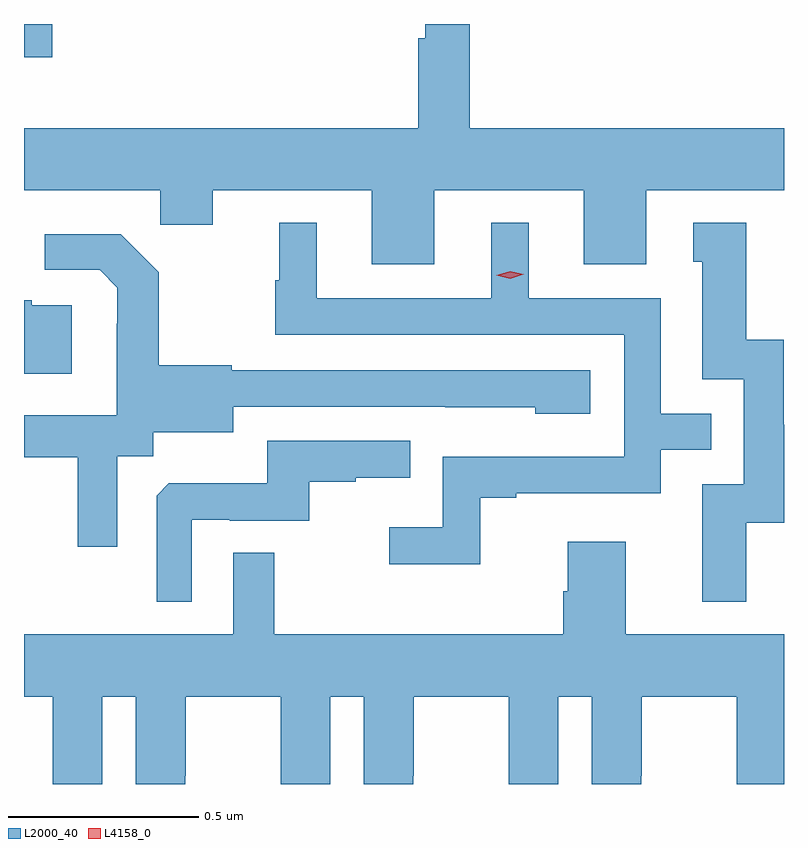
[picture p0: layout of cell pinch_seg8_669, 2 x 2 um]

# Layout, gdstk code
import gdstk
lib = gdstk.Library(unit=1e-6, precision=1e-09)
def R(c, l, rs):  # rectangles x0, y0, x1, y1
    for r in rs: c.add(gdstk.rectangle(r[:2], r[2:], *l))
def P(c, l, *ps):  # polygons
    for p in ps: c.add(gdstk.Polygon(p, *l))
L2000_40 = (2000, 40)
L4158_0 = (4158, 0)

pinch_seg8_669 = lib.new_cell('pinch_seg8_669')
R(pinch_seg8_669, L2000_40, [(316.142,1108.859,316.216,1108.946)])
P(pinch_seg8_669, L2000_40, [(317.221,1108.508),(317.615,1108.508),(317.615,1108.314),(317.779,1108.314),(317.779,1108.508),(318.142,1108.508),(318.142,1108.672),(317.315,1108.672),(317.315,1108.946),(317.198,1108.946),(317.198,1108.908),(317.179,1108.908),(317.179,1108.672),(316.142,1108.672),(316.142,1108.508),(316.501,1108.508),(316.501,1108.418),(316.639,1108.418),(316.639,1108.508),(317.057,1108.508),(317.057,1108.314),(317.221,1108.314)],
  [(317.343,1107.699),(317.437,1107.699),(317.437,1107.711),(317.817,1107.711),(317.817,1107.825),(317.951,1107.825),(317.951,1107.921),(317.817,1107.921),(317.817,1108.224),(317.47,1108.224),(317.47,1108.423),(317.372,1108.423),(317.372,1108.224),(316.912,1108.224),(316.912,1108.423),(316.814,1108.423),(316.814,1108.272),(316.803,1108.272),(316.803,1108.128),(317.721,1108.128),(317.721,1107.807),(317.244,1107.807),(317.244,1107.622),(317.103,1107.622),(317.103,1107.524),(317.343,1107.524)],
  [(318.043,1107.634),(318.142,1107.634),(318.142,1107.892),(318.141,1107.892),(318.141,1108.115),(318.043,1108.115),(318.043,1108.423),(317.903,1108.423),(317.903,1108.32),(317.927,1108.32),(317.927,1108.011),(318.036,1108.011),(318.036,1107.735),(317.927,1107.735),(317.927,1107.426),(318.043,1107.426)],
  [(316.387,1107.808),(316.482,1107.808),(316.482,1107.872),(316.693,1107.872),(316.693,1107.939),(317.251,1107.939),(317.251,1107.938),(317.487,1107.938),(317.487,1107.92),(317.632,1107.92),(317.632,1108.035),(316.689,1108.035),(316.689,1108.048),(316.497,1108.048),(316.497,1108.293),(316.397,1108.393),(316.197,1108.393),(316.197,1108.299),(316.341,1108.299),(316.388,1108.252),(316.388,1108.157),(316.386,1108.157),(316.386,1107.916),(316.142,1107.916),(316.142,1107.806),(316.283,1107.806),(316.283,1107.57),(316.387,1107.57)],
  [(316.267,1108.206),(316.163,1108.206),(316.163,1108.219),(316.142,1108.219),(316.142,1108.026),(316.267,1108.026)],
  [(316.584,1107.642),(316.684,1107.642),(316.684,1107.639),(316.892,1107.639),(316.892,1107.741),(317.015,1107.741),(317.015,1107.752),(317.159,1107.752),(317.159,1107.849),(316.782,1107.849),(316.782,1107.737),(316.523,1107.737),(316.491,1107.705),(316.491,1107.425),(316.584,1107.425)],
  [(316.348,1107.176),(316.436,1107.176),(316.436,1106.946),(316.566,1106.946),(316.566,1106.968),(316.567,1106.968),(316.567,1107.176),(316.817,1107.176),(316.817,1106.968),(316.818,1106.968),(316.818,1106.946),(316.948,1106.946),(316.948,1107.176),(317.036,1107.176),(317.036,1106.946),(317.166,1106.946),(317.166,1106.968),(317.167,1106.968),(317.167,1107.176),(317.417,1107.176),(317.417,1106.968),(317.418,1106.968),(317.418,1106.946),(317.548,1106.946),(317.548,1107.176),(317.636,1107.176),(317.636,1106.946),(317.766,1106.946),(317.766,1106.968),(317.767,1106.968),(317.767,1107.176),(318.017,1107.176),(318.017,1106.968),(318.018,1106.968),(318.018,1106.946),(318.142,1106.946),(318.142,1107.34),(317.725,1107.34),(317.725,1107.583),(317.573,1107.583),(317.573,1107.453),(317.561,1107.453),(317.561,1107.34),(316.801,1107.34),(316.801,1107.554),(316.692,1107.554),(316.692,1107.34),(316.142,1107.34),(316.142,1107.176),(316.217,1107.176),(316.217,1106.968),(316.218,1106.968),(316.218,1106.946),(316.348,1106.946)])
P(pinch_seg8_669, L4158_0, [(317.421,1108.276),(317.385,1108.285),(317.385,1108.285),(317.385,1108.285),(317.421,1108.296),(317.457,1108.288),(317.457,1108.288),(317.457,1108.287)])

lib.write_gds('pinch_seg8_669.gds')
